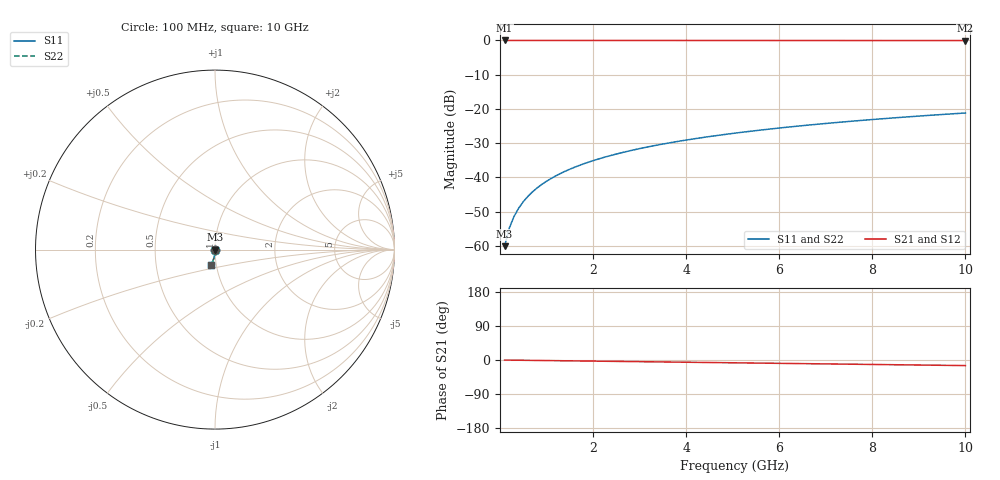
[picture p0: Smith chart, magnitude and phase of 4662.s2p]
# Hz S RI R 50.00
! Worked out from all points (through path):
!   100 points, 100 MHz to 10 GHz, reference 50 ohm
!   highest |S21| = 0.00 dB at 100 MHz (marker M1); lowest = 0.0 dB at 10 GHz (marker M2)
!   group delay of S21, straight-line fit = 4.09 ps
!   lowest |S11| = -60.1 dB at 100 MHz (marker M3), VSWR 1.00, Z = 50 - j0.088 ohm
!   |S11| at or under -10 dB: start of sweep to end of sweep
!   |S22| runs from -60.1 to -21.2 dB; largest |S21 - S12| = 0
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1e8  0.000461 -0.000879  0.9995 -0.00256  0.9995 -0.00256  0.000461 -0.000879
2e8  0.000455 -0.00176  0.9995 -0.00512  0.9995 -0.00512  0.000455 -0.00176
3e8  0.000445 -0.00264  0.9995 -0.00768  0.9995 -0.00768  0.000445 -0.00264
4e8  0.000429 -0.00352  0.9995 -0.0102  0.9995 -0.0102  0.000429 -0.00352
5e8  0.000409 -0.00439  0.9994 -0.0128  0.9994 -0.0128  0.000409 -0.00439
6e8  0.000384 -0.00527  0.9994 -0.0154  0.9994 -0.0154  0.000384 -0.00527
7e8  0.000355 -0.00615  0.9993 -0.0179  0.9993 -0.0179  0.000355 -0.00615
8e8  0.00032 -0.00703  0.9993 -0.0205  0.9993 -0.0205  0.00032 -0.00703
9e8  0.000282 -0.00791  0.9992 -0.023  0.9992 -0.023  0.000282 -0.00791
1.1e9  0.000191 -0.00967  0.9991 -0.0282  0.9991 -0.0282  0.000191 -0.00967
1.4e9  1.98e-05 -0.0123  0.9988 -0.0358  0.9988 -0.0358  1.98e-05 -0.0123
1.8e9  -0.000271 -0.0158  0.9983 -0.0461  0.9983 -0.0461  -0.000271 -0.0158
2.1e9  -0.000537 -0.0184  0.9979 -0.0537  0.9979 -0.0537  -0.000537 -0.0184
2.5e9  -0.000955 -0.0219  0.9972 -0.064  0.9972 -0.064  -0.000955 -0.0219
2.9e9  -0.00144 -0.0254  0.9964 -0.0742  0.9964 -0.0742  -0.00144 -0.0254
3.4e9  -0.00216 -0.0298  0.9952 -0.087  0.9952 -0.087  -0.00216 -0.0298
4.2e9  -0.00353 -0.0367  0.993 -0.1073  0.993 -0.1073  -0.00353 -0.0367
5.1e9  -0.00542 -0.0444  0.9899 -0.1302  0.9899 -0.1302  -0.00542 -0.0444
5.9e9  -0.00739 -0.0512  0.9866 -0.1505  0.9866 -0.1505  -0.00739 -0.0512
6.7e9  -0.00965 -0.0579  0.9829 -0.1707  0.9829 -0.1707  -0.00965 -0.0579
8.4e9  -0.0153 -0.0719  0.9735 -0.2133  0.9735 -0.2133  -0.0153 -0.0719
1e10  -0.0218 -0.0845  0.9628 -0.2529  0.9628 -0.2529  -0.0218 -0.0845
